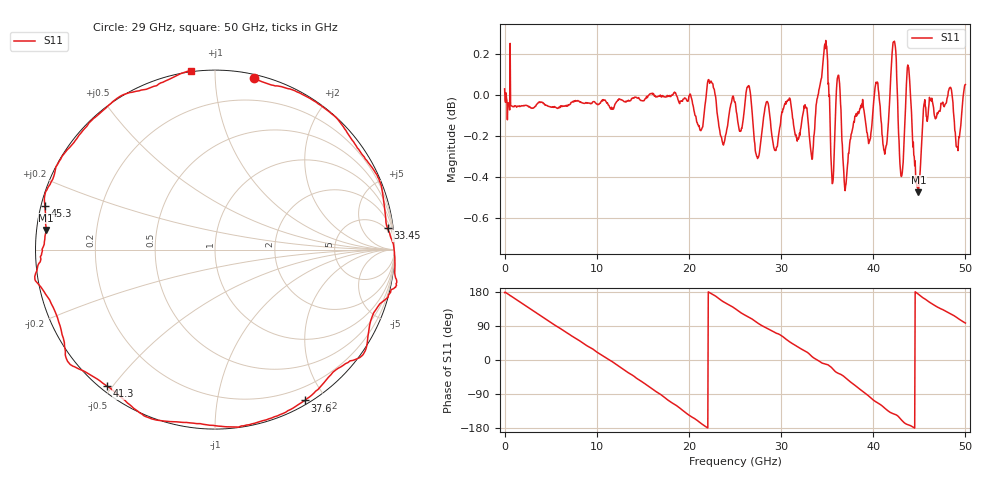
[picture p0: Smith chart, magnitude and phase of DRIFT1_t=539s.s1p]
!Created with skrf (http://scikit-rf.org).
# Hz S RI R 50.0
!freq ReS11 ImS11
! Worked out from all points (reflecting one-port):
!   1001 points, 300 kHz to 50 GHz, reference 50 ohm
!   lowest |S11| = -0.5 dB at 44.9 GHz (marker M1), VSWR 36.79, Z = 1.36 + j2.9 ohm
!   phase of S11 starts at 178 deg and turns -800 deg over the sweep
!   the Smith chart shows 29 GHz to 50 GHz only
!   S11 on the Smith chart (normalised r, x): 29 GHz: 0.03, +1.25; 33.45 GHz: 4, +15; 37.6 GHz: 0.05, -1.76; 41.3 GHz: 0.02, -0.49; 45.3 GHz: 0.01, +0.13; 50 GHz: -0.01, +0.88
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300000  -1.003 0.0389
1.75029e9  -0.874 0.4727
3.600278e9  -0.5214 0.8479
6.250262e9  0.1747 0.9783
7.950252e9  0.5917 0.8023
9.850241e9  0.9141 0.3945
1.250022e10  0.9468 -0.3142
1.395022e10  0.7489 -0.66
1.59002e10  0.2752 -0.9623
1.875019e10  -0.5292 -0.8471
2.020018e10  -0.855 -0.5181
2.200017e10  -1.006 -0.027
2.500015e10  -0.7152 0.6934
2.660014e10  -0.3714 0.932
2.900013e10  0.216 0.9534
3.125011e10  0.7222 0.6728
3.34501e10  0.9613 0.1207
3.500009e10  1.002 -0.2106
3.750008e10  0.5258 -0.8215
3.760007e10  0.5002 -0.8407
3.910007e10  0.0516 -0.9863
4.130005e10  -0.5992 -0.762
4.245005e10  -0.8309 -0.5996
4.375004e10  -1.003 -0.1664
4.490003e10  -0.9407 0.1096
4.530003e10  -0.948 0.2414
4.715002e10  -0.7275 0.6731
5e10  -0.1318 0.9972
